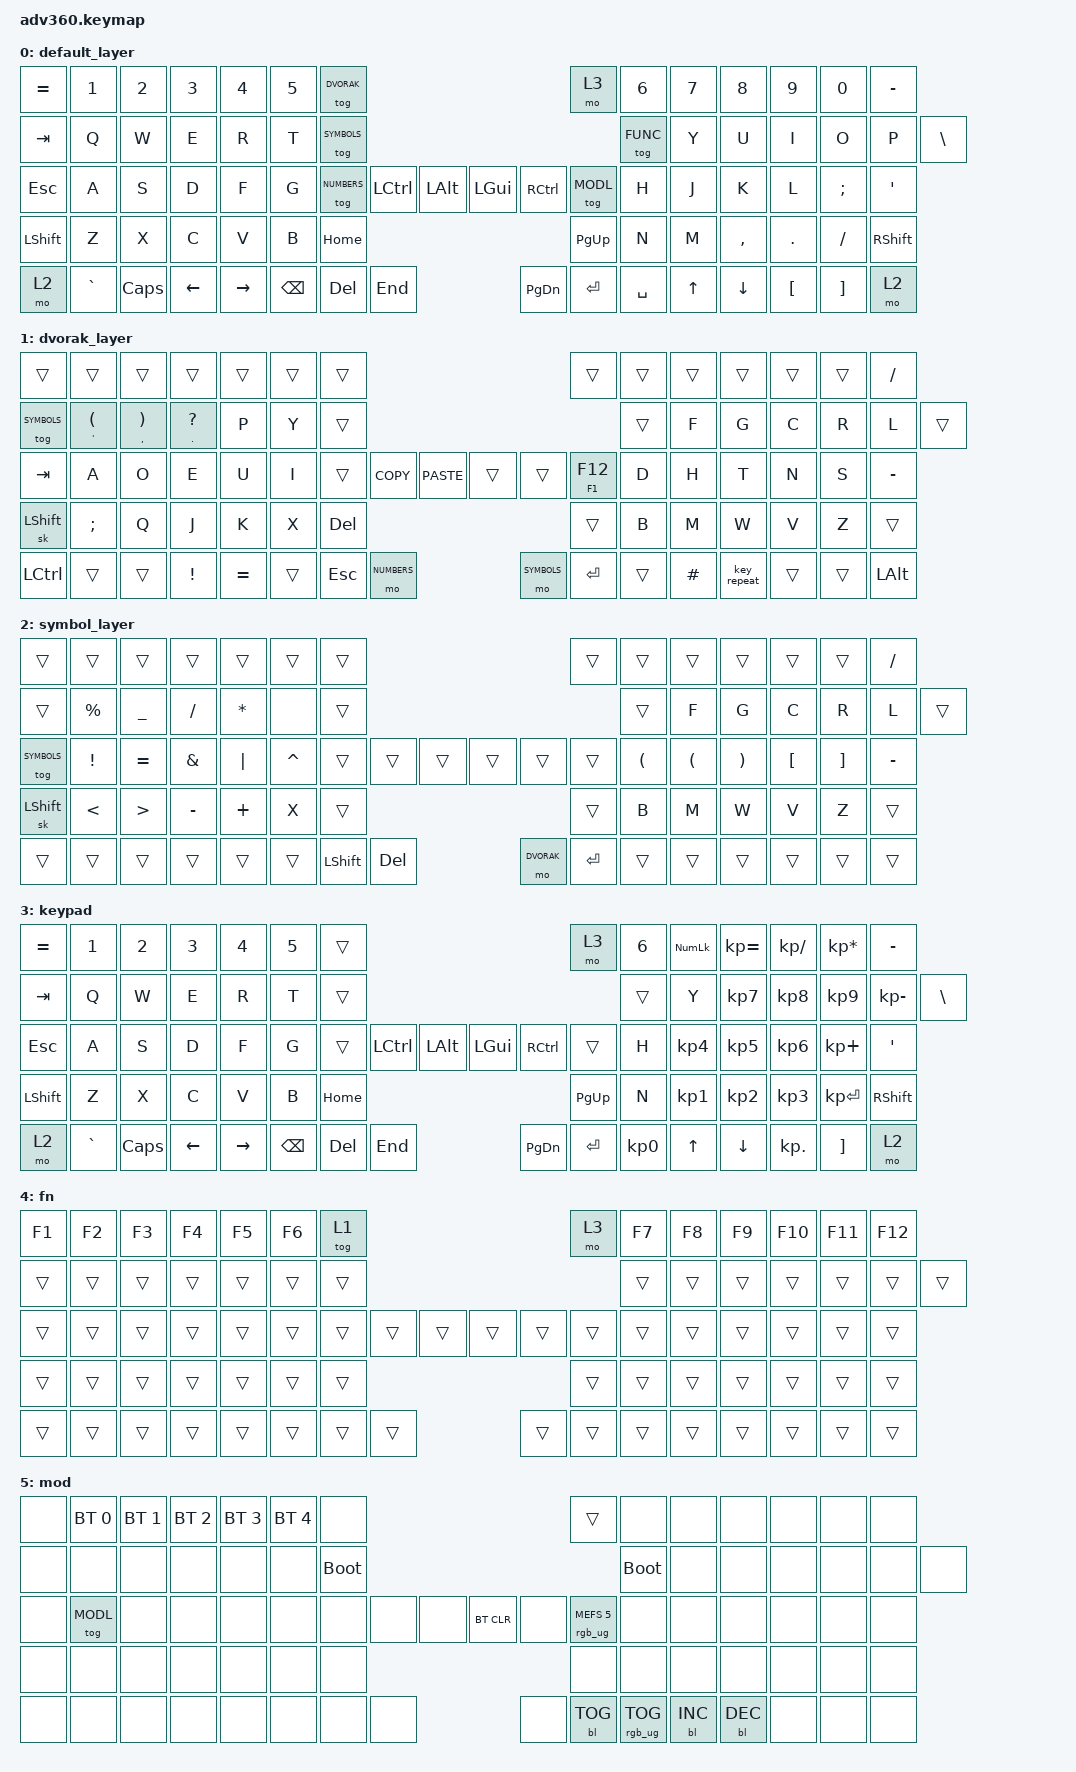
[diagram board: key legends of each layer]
#include <behaviors.dtsi>
#include <dt-bindings/zmk/keys.h>
#include <dt-bindings/zmk/bt.h>
#include <dt-bindings/zmk/rgb.h>
#include <dt-bindings/zmk/backlight.h>

/ {
    behaviors {
      #include "macros.dtsi"

      hm: homerow_mods {
          compatible = "zmk,behavior-hold-tap";
          label = "HOMEROW_MODS";
          #binding-cells = <2>;
          tapping-term-ms = <200>;
          quick_tap_ms = <175>;
          flavor = "tap-preferred";
          bindings = <&kp>, <&kp>;
      };
      mo_tog: behavior_mo_tog {
          compatible = "zmk,behavior-hold-tap";
          label = "mo_tog";
          #binding-cells = <2>;
          flavor = "hold-preferred";
          tapping-term-ms = <200>;
          bindings = <&mo>, <&tog>;
      };
    };

#define QWERTY 0 
#define DVORAK 1 
#define SYMBOLS 2 
#define NUMBERS 3
#define FUNC 4 
#define MODL 5


  keymap {
    compatible = "zmk,keymap";
    default_layer {
      bindings = <
        &kp EQUAL &kp N1    &kp N2   &kp N3   &kp N4     &kp N5 &tog DVORAK                                                           &mo 3 &kp N6 &kp N7 &kp N8    &kp N9   &kp N0   &kp MINUS
        &kp TAB   &kp Q     &kp W    &kp E    &kp R      &kp T  &tog SYMBOLS                                                            &tog FUNC &kp Y  &kp U  &kp I     &kp O    &kp P    &kp BSLH
        &kp ESC   &kp A     &kp S    &kp D    &kp F      &kp G  &tog NUMBERS    &kp LCTRL &kp LALT &kp LGUI  &kp RCTRL           &tog MODL &kp H  &kp J  &kp K     &kp L    &kp SEMI &kp SQT
        &kp LSHFT &kp Z     &kp X    &kp C    &kp V      &kp B                            &kp HOME &kp PG_UP                           &kp N  &kp M  &kp COMMA &kp DOT  &kp FSLH &kp RSHFT
        &mo 2     &kp GRAVE &kp CAPS &kp LEFT &kp RIGHT                &kp BSPC &kp DEL   &kp END  &kp PG_DN &kp ENTER &kp SPACE              &kp UP &kp DOWN  &kp LBKT &kp RBKT &mo 2
      >;
    };
 //  ╭────────────────────────────┬────────────────────────────╮
      //  │  0   1   2   3   4   5   6 │  7   8   9  10  11  12  13 │
      //  │ 14  15  16  17  18  19  20 │ 21  22  23  24  25  26  27 │
      //  │ 28  29  30  31  32  33  34 │ 35  36  37  38  39  40  41 │
      //  │ 42  43  44  45  46  47 ╭───┴───╮ 48  49  50  51  52  53 │
      //  │ 54  55  56  57  58╭────╯       ╰────╮59  60  61  62  63 │
      //  ╰───────────────────┼────────┬────────┼───────────────────╯
      //                  ╭───╯ 64  65 │ 66  67 ╰───╮
      //                  │ 68  69  70 │ 71  72  73 │
      //                  ╰───────╮ 74 │ 75 ╭───────╯
      //                          ╰────┴────╯
      //   ,--------------------------------------------------.                                           ,--------------------------------------------------.                      
      //   |    =   |   1  |   2  |   3  |  4   |   5  |DVOR  |                                           | Mod 3|   6  |   7  |   8  |   9  |   0  |   /    |
      //   |--------+------+------+------+------+------+------|                                           |------+------+------+------+------+------+--------|
      //   |   SYM  |   "  |   ,  |   .  |   P  |   Y  |SYMB  |                                           |      |   F  |   G  |   C  |   R  |   L  |    \   |
      //   |--------+------+------+------+------+------+------|       ,-----+-----.  ,-----+-----.        |------+------+------+------+------+------+--------|
      //   |   TAB  |   A  |   O  |   E  |   U  |   I  |NUMB  |       |L Ctl|L Alt|  |L Gui|R ctl|        |      |   D  |   H  |   T  |   N  |   S  |   -    |
      //   |--------+------+------+------+------+------+------' .-----+-----+-----|  |-----+-----+-----.  '------+------+------+------+------+------+--------|
      //   | L Shift|   ;  |   Q  |   J  |   K  |   X  |        |Back |     | DEL |  |Pg Up|     |     |         |   B  |   M  |   W  |   V  |   Z  | R Shift|
      //   |--------+------+------+------+------+------'        |Space|ESC  |-----|  |-----|Enter|Space|         '------+------+------+------+------+--------|
      //   |  CTRL  |   `  | CAPS |   !  |  =   |               |     |     | NUM |  |SYM  |     |     |                |  #   | KR   |   [  |  /?  |  Alt   |
      //   `--------+------+------+------+------'               `-----+-----+-----'  `-----+-----+-----'                '------+------+------+------+--------'
    dvorak_layer {
      bindings = <
        &trans   &trans           &trans    &trans      &trans    &trans    &trans                                                                       &trans    &trans    &trans    &trans    &trans    &trans    &kp SLASH 
        &tog SYMBOLS   &hm APOSTROPHE LPAR   &hm COMMA RPAR   &hm PERIOD QMARK &kp P     &kp Y    &trans                                                      &trans    &kp F     &kp G     &kp C     &kp R     &kp L     &trans 
        &kp TAB   &kp A      &kp O     &kp E       &kp U     &kp I     &trans          &kp K_COPY  &kp K_PASTE        &trans  &trans                         &hm F1 F12    &kp D     &kp H     &kp T     &kp N     &kp S     &kp MINUS
        &sk LSHFT &kp SEMICOLON   &kp Q     &kp J       &kp K     &kp X                             &kp DEL   &trans                                           &kp B     &kp M     &kp W     &kp V     &kp Z     &trans
        &kp LCTRL    &trans          &trans    &kp EXCL    &kp EQUAL            &trans  &kp ESC        &mo NUMBERS       &mo SYMBOLS    &kp ENTER &trans                               &kp HASH  &key_repeat    &trans    &trans    &kp LALT
      >;
    };
    symbol_layer {
      bindings = <
        &trans   &trans           &trans    &trans      &trans    &trans    &trans                                                                     &trans    &trans    &trans    &trans    &trans    &trans    &kp FSLH 
        &trans   &kp PERCENT  &kp UNDERSCORE &kp SLASH  &kp ASTRK &none     &trans                                                               &trans    &kp F     &kp G     &kp C     &kp R     &kp L     &trans 
        &tog SYMBOLS   &kp EXCL   &kp EQUAL  &kp AMPS   &kp PIPE  &kp CARET &trans          &trans  &trans      &trans  &trans                         &trans    &kp LPAR  &kp LPAR  &kp RPAR  &kp LBKT  &kp RBKT     &kp MINUS
        &sk LSHFT      &kp LT     &kp GT     &kp MINUS  &kp PLUS  &kp X                             &trans      &trans                                           &kp B     &kp M     &kp W     &kp V     &kp Z     &trans
        &trans    &trans          &trans     &trans     &trans               &trans  &kp LSHFT     &kp DEL      &mo DVORAK     &kp ENTER &trans                            &trans    &trans    &trans    &trans    &trans
      >;
    };
    keypad {
      bindings = <
        &kp EQUAL &kp N1    &kp N2   &kp N3   &kp N4     &kp N5 &trans                                                              &mo 3 &kp N6 &kp KP_NUM &kp KP_EQUAL &kp KP_DIVIDE &kp KP_MULTIPLY &kp MINUS
        &kp TAB   &kp Q     &kp W    &kp E    &kp R      &kp T  &trans                                                               &trans &kp Y  &kp KP_N7  &kp KP_N8    &kp KP_N9     &kp KP_MINUS    &kp BSLH
        &kp ESC   &kp A     &kp S    &kp D    &kp F      &kp G  &trans           &kp LCTRL &kp LALT    &kp LGUI  &kp RCTRL           &trans &kp H  &kp KP_N4  &kp KP_N5    &kp KP_N6     &kp KP_PLUS     &kp SQT
        &kp LSHFT &kp Z     &kp X    &kp C    &kp V      &kp B                            &kp HOME    &kp PG_UP                           &kp N  &kp KP_N1  &kp KP_N2    &kp KP_N3     &kp KP_ENTER    &kp RSHFT
        &mo 2     &kp GRAVE &kp CAPS &kp LEFT &kp RIGHT                &kp BSPC &kp DEL   &kp END     &kp PG_DN &kp ENTER &kp KP_N0              &kp UP     &kp DOWN     &kp KP_DOT    &kp RBKT        &mo 2
      >;
    };
    fn {
      bindings = <
        &kp F1 &kp F2 &kp F3 &kp F4 &kp F5 &kp F6 &tog 1                                           &mo 3 &kp F7 &kp F8 &kp F9 &kp F10 &kp F11 &kp F12
        &trans &trans &trans &trans &trans &trans  &trans                                           &trans &trans &trans &trans &trans  &trans  &trans
        &trans &trans &trans &trans &trans &trans  &trans        &trans &trans &trans &trans        &trans &trans &trans &trans &trans  &trans  &trans
        &trans &trans &trans &trans &trans &trans                      &trans &trans                     &trans &trans &trans &trans  &trans  &trans
        &trans &trans &trans &trans &trans               &trans &trans &trans &trans &trans &trans              &trans &trans &trans  &trans  &trans
      >;
    };
    mod {
      bindings = <
        &none &bt BT_SEL 0 &bt BT_SEL 1 &bt BT_SEL 2 &bt BT_SEL 3 &bt BT_SEL 4 &none                                                                     &trans                 &none        &none        &none        &none &none &none
        &none &none        &none        &none        &none        &none        &bootloader                                                               &bootloader            &none        &none        &none        &none &none &none
        &none &tog MODL    &none        &none        &none        &none        &none                   &none &none &bt BT_CLR &none                      &rgb_ug RGB_MEFS_CMD 5 &none        &none        &none        &none &none &none
        &none &none        &none        &none        &none        &none                                      &none &none                                                        &none        &none        &none        &none &none &none
        &none &none        &none        &none        &none                                       &none &none &none &none      &bl BL_TOG &rgb_ug RGB_TOG                                     &bl BL_INC   &bl BL_DEC   &none &none &none
      >;
    };
  };
};
